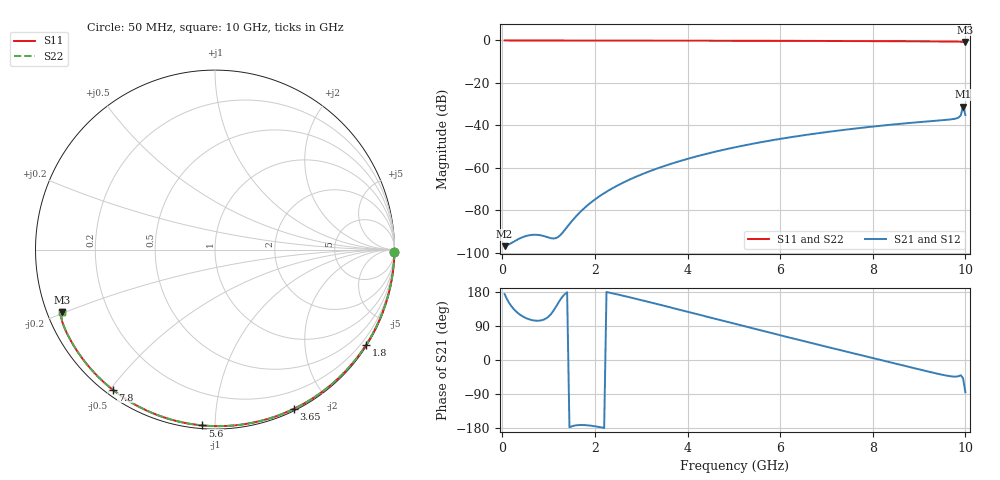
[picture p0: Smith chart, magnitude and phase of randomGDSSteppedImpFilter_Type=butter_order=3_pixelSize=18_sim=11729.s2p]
! freq	dB(S11)	phase(S11)	dB(S12)	phase(S12)
!  dB(S21)	phase(S21)	dB(S22)	phase(S22)
!S-par simulation data
#  GHz  S  DB  R 50
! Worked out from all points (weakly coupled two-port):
!   200 points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, 50 MHz to 10 GHz, reference 50 ohm
!   highest |S21| = -31.16 dB at 9.95 GHz (marker M1); lowest = -97.0 dB at 50 MHz (marker M2)
!   lowest |S11| = -0.7 dB at 10 GHz (marker M3), VSWR 23.83, Z = 2.18 - j9.86 ohm
!   |S11| at or under -10 dB: nowhere
!   |S22| runs from -0.7 to 0.0 dB; largest |S21 - S12| = 0
!   S11 on the Smith chart (normalised r, x): 50 MHz: open; 1.8 GHz: 0.03, -3.46; 3.65 GHz: 0.02, -1.61; 5.6 GHz: 0.02, -0.93; 7.8 GHz: 0.02, -0.51; 10 GHz: 0.04, -0.20
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0.05  -0.00 -0.9  -96.99 174.0  -96.99 174.0  -0.00 -0.9
0.9  -0.02 -16.3  -92.25 106.8  -92.25 106.8  -0.02 -16.3
1.7  -0.04 -30.5  -80.51 -171.5  -80.51 -171.5  -0.04 -30.5
1.75  -0.04 -31.4  -79.47 -171.6  -79.47 -171.6  -0.04 -31.4
1.8  -0.04 -32.2  -78.49 -171.9  -78.49 -171.9  -0.04 -32.2
2.1  -0.05 -37.5  -73.44 -177.0  -73.44 -177.0  -0.05 -37.5
2.45  -0.06 -43.5  -68.83 174.1  -68.83 174.1  -0.06 -43.5
2.9  -0.07 -51.1  -64.12 161.1  -64.12 161.1  -0.07 -51.1
3.4  -0.08 -59.5  -59.93 145.9  -59.93 145.9  -0.08 -59.5
3.65  -0.09 -63.6  -58.12 138.2  -58.12 138.2  -0.09 -63.6
4.3  -0.11 -74.1  -54.06 118.0  -54.06 118.0  -0.11 -74.1
5.05  -0.13 -85.8  -50.25 94.7  -50.25 94.7  -0.13 -85.8
5.6  -0.16 -94.1  -47.91 77.7  -47.91 77.7  -0.16 -94.1
6.7  -0.22 -110.4  -44.09 44.1  -44.09 44.1  -0.22 -110.4
7.8  -0.30 -126.2  -41.08 11.1  -41.08 11.1  -0.30 -126.2
8.35  -0.34 -134.0  -39.81 -5.3  -39.81 -5.3  -0.34 -134.0
9.1  -0.42 -144.7  -38.32 -27.7  -38.32 -27.7  -0.42 -144.7
9.8  -0.54 -155.3  -36.79 -43.9  -36.79 -43.9  -0.54 -155.2
9.85  -0.57 -156.1  -36.38 -42.9  -36.38 -42.9  -0.57 -156.1
9.9  -0.62 -156.8  -35.31 -40.2  -35.31 -40.2  -0.62 -156.8
9.95  -0.69 -157.4  -31.16 -47.9  -31.16 -47.9  -0.68 -157.4
10  -0.73 -157.6  -35.13 -85.3  -35.13 -85.3  -0.73 -157.7
